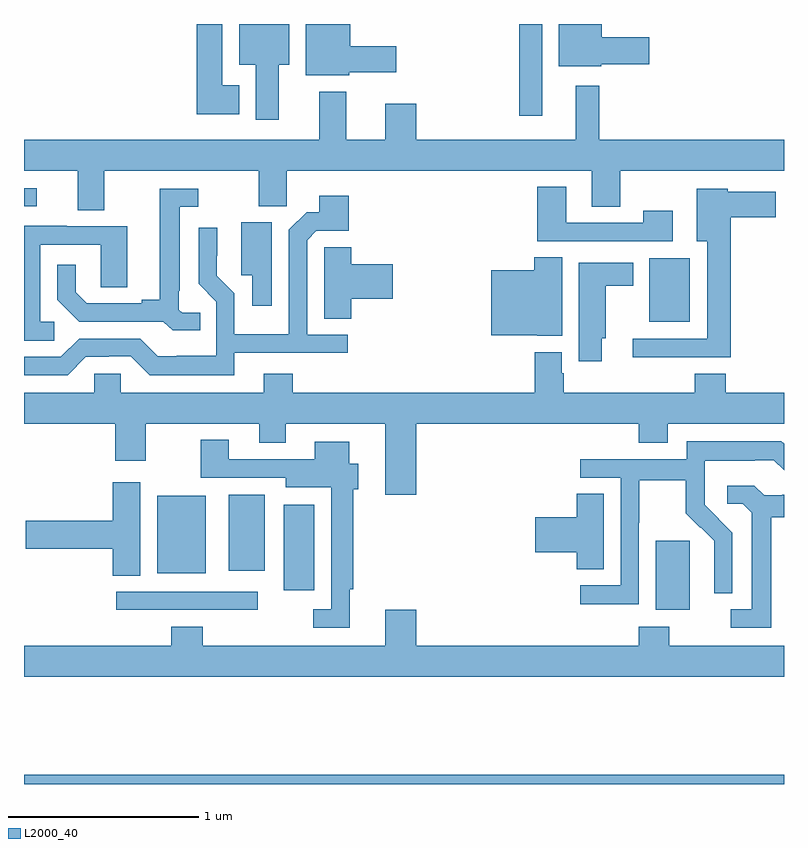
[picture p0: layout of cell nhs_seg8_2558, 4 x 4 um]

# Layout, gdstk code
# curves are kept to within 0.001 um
import gdstk
lib = gdstk.Library(unit=1e-6, precision=1e-09)
def R(c, l, rs):  # rectangles x0, y0, x1, y1
    for r in rs: c.add(gdstk.rectangle(r[:2], r[2:], *l))
def P(c, l, *ps):  # polygons
    for p in ps: c.add(gdstk.Polygon(p, *l))
L2000_40 = (2000, 40)

nhs_seg8_2558 = lib.new_cell('nhs_seg8_2558')
R(nhs_seg8_2558, L2000_40, [(271,1151.9,275,1151.948), (271.485,1152.816,272.23,1152.912), (274.325,1152.818,274.504,1153.179), (272.366,1152.921,272.527,1153.369), (271.7,1153.01,271.957,1153.417), (272.078,1153.022,272.266,1153.423), (274.292,1154.333,274.504,1154.668), (271,1154.94,271.066,1155.036), (273.606,1155.417,273.727,1155.9)])
P(nhs_seg8_2558, L2000_40, [(272.712,1155.647),(272.959,1155.647),(272.959,1155.782),(272.716,1155.782),(272.716,1155.9),(272.483,1155.9),(272.483,1155.629),(272.712,1155.629)],
  [(272.341,1155.686),(272.395,1155.686),(272.395,1155.9),(272.132,1155.9),(272.132,1155.686),(272.219,1155.686),(272.219,1155.396),(272.341,1155.396)],
  [(274.038,1155.688),(274.291,1155.688),(274.291,1155.83),(274.042,1155.83),(274.042,1155.9),(273.815,1155.9),(273.815,1155.677),(274.038,1155.677)],
  [(272.134,1155.577),(272.044,1155.577),(272.044,1155.9),(271.91,1155.9),(271.91,1155.425),(272.134,1155.425)],
  [(271.423,1155.128),(272.236,1155.128),(272.236,1154.941),(272.382,1154.941),(272.382,1155.128),(273.989,1155.128),(273.989,1154.938),(274.137,1154.938),(274.137,1155.128),(275,1155.128),(275,1155.292),(274.027,1155.292),(274.027,1155.574),(273.905,1155.574),(273.905,1155.292),(273.064,1155.292),(273.064,1155.481),(272.9,1155.481),(272.9,1155.292),(272.695,1155.292),(272.695,1155.544),(272.555,1155.544),(272.555,1155.292),(271,1155.292),(271,1155.128),(271.283,1155.128),(271.283,1154.92),(271.423,1154.92)],
  [(274.414,1154.917),(274.258,1154.917),(274.258,1154.853),(273.853,1154.853),(273.853,1155.043),(273.701,1155.043),(273.701,1154.757),(274.414,1154.757)],
  [(274.721,1154.882),(274.957,1154.882),(274.957,1155.016),(274.704,1155.016),(274.704,1155.034),(274.541,1155.034),(274.541,1154.756),(274.595,1154.756),(274.595,1154.244),(274.203,1154.244),(274.203,1154.147),(274.721,1154.147)],
  [(271.928,1154.379),(271.833,1154.379),(271.815,1154.397),(271.815,1154.497),(271.819,1154.497),(271.819,1154.937),(271.918,1154.937),(271.918,1155.033),(271.715,1155.033),(271.715,1154.45),(271.619,1154.45),(271.619,1154.43),(271.33,1154.43),(271.273,1154.487),(271.273,1154.632),(271.176,1154.632),(271.176,1154.45),(271.292,1154.334),(271.734,1154.334),(271.782,1154.287),(271.928,1154.287)],
  [(272.107,1154.169),(272.704,1154.169),(272.704,1154.265),(272.49,1154.265),(272.49,1154.763),(272.538,1154.811),(272.708,1154.811),(272.708,1154.995),(272.555,1154.995),(272.555,1154.91),(272.487,1154.91),(272.394,1154.817),(272.394,1154.266),(272.106,1154.266),(272.106,1154.482),(272.015,1154.574),(272.016,1154.827),(271.92,1154.827),(271.92,1154.532),(272.013,1154.439),(272.013,1154.155),(271.804,1154.155),(271.804,1154.151),(271.704,1154.151),(271.611,1154.244),(271.29,1154.244),(271.194,1154.148),(271,1154.148),(271,1154.052),(271.23,1154.052),(271.326,1154.148),(271.446,1154.148),(271.446,1154.151),(271.563,1154.151),(271.663,1154.051),(272.107,1154.051)],
  [(272.305,1154.856),(272.144,1154.856),(272.144,1154.577),(272.201,1154.577),(272.201,1154.418),(272.305,1154.418)],
  [(271.159,1154.334),(271.086,1154.334),(271.086,1154.739),(271.404,1154.739),(271.404,1154.515),(271.543,1154.515),(271.543,1154.835),(271.225,1154.835),(271.225,1154.839),(271,1154.839),(271,1154.233),(271.159,1154.233)],
  [(272.723,1154.453),(272.941,1154.453),(272.941,1154.636),(272.723,1154.636),(272.723,1154.726),(272.58,1154.726),(272.58,1154.618),(272.579,1154.618),(272.579,1154.35),(272.723,1154.35)],
  [(273.832,1154.672),(273.686,1154.672),(273.686,1154.605),(273.458,1154.605),(273.458,1154.261),(273.702,1154.261),(273.702,1154.258),(273.832,1154.258)],
  [(274.042,1154.247),(274.063,1154.247),(274.063,1154.522),(274.207,1154.522),(274.207,1154.644),(273.92,1154.644),(273.92,1154.124),(274.042,1154.124)],
  [(272.261,1154.059),(272.261,1153.96),(271.509,1153.96),(271.509,1154.058),(271.371,1154.058),(271.371,1153.96),(271,1153.96),(271,1153.796),(271.481,1153.796),(271.481,1153.602),(271.641,1153.602),(271.641,1153.796),(272.237,1153.796),(272.237,1153.697),(272.377,1153.697),(272.377,1153.796),(272.9,1153.796),(272.9,1153.422),(273.064,1153.422),(273.064,1153.796),(274.235,1153.796),(274.235,1153.697),(274.387,1153.697),(274.387,1153.796),(275,1153.796),(275,1153.96),(274.694,1153.96),(274.694,1154.059),(274.529,1154.059),(274.529,1153.96),(273.842,1153.96),(273.842,1154.061),(273.829,1154.061),(273.829,1154.173),(273.689,1154.173),(273.689,1153.96),(272.414,1153.96),(272.414,1154.059)],
  [(272.714,1152.926),(272.732,1152.926),(272.732,1153.451),(272.758,1153.451),(272.758,1153.585),(272.713,1153.585),(272.713,1153.702),(272.531,1153.702),(272.531,1153.608),(272.077,1153.608),(272.077,1153.711),(271.93,1153.711),(271.93,1153.512),(272.378,1153.512),(272.378,1153.463),(272.616,1153.463),(272.616,1152.819),(272.523,1152.819),(272.523,1152.723),(272.714,1152.723)],
  [(274.236,1153.276),(274.239,1153.276),(274.239,1153.5),(274.483,1153.5),(274.483,1153.325),(274.56,1153.248),(274.563,1153.251),(274.634,1153.181),(274.634,1153.058),(274.632,1153.058),(274.632,1152.904),(274.728,1152.904),(274.728,1153.222),(274.582,1153.37),(274.582,1153.467),(274.584,1153.467),(274.584,1153.601),(274.847,1153.601),(274.847,1153.605),(274.947,1153.605),(275,1153.552),(275,1153.69),(274.985,1153.705),(274.488,1153.705),(274.488,1153.608),(273.927,1153.608),(273.927,1153.512),(274.14,1153.512),(274.14,1152.945),(273.927,1152.945),(273.927,1152.847),(274.236,1152.847)],
  [(271.612,1153.489),(271.466,1153.489),(271.466,1153.286),(271.008,1153.286),(271.008,1153.139),(271.466,1153.139),(271.466,1152.997),(271.612,1152.997)],
  [(274.933,1153.304),(275,1153.304),(275,1153.422),(274.99,1153.422),(274.99,1153.419),(274.896,1153.419),(274.844,1153.471),(274.701,1153.471),(274.701,1153.374),(274.782,1153.374),(274.829,1153.327),(274.829,1152.819),(274.719,1152.819),(274.719,1152.723),(274.933,1152.723)],
  [(274.051,1153.427),(273.908,1153.427),(273.908,1153.304),(273.69,1153.304),(273.69,1153.121),(273.908,1153.121),(273.908,1153.03),(274.051,1153.03)],
  [(275,1152.628),(274.395,1152.628),(274.395,1152.727),(274.235,1152.727),(274.235,1152.628),(273.064,1152.628),(273.064,1152.817),(272.9,1152.817),(272.9,1152.628),(271.94,1152.628),(271.94,1152.727),(271.775,1152.727),(271.775,1152.628),(271,1152.628),(271,1152.464),(275,1152.464)])

lib.write_gds('nhs_seg8_2558.gds')
